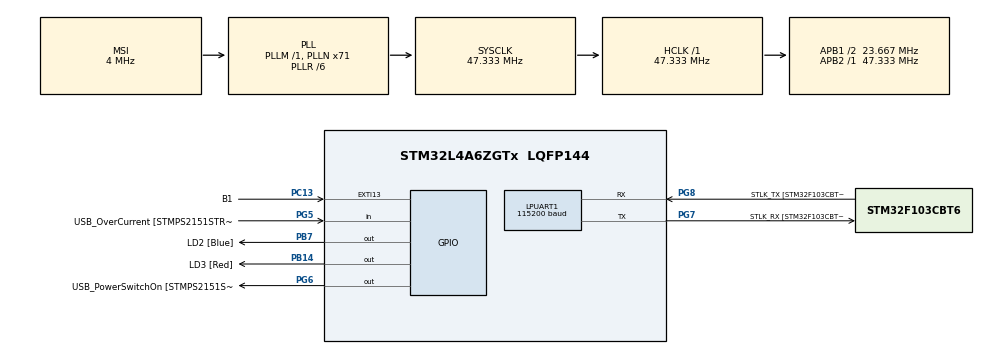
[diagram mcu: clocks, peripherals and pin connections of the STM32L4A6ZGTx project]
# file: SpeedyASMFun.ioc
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LPUART1.AutoBaudRateEnableParam=UART_ADVFEATURE_AUTOBAUDRATE_DISABLE
LPUART1.BaudRate=115200
LPUART1.DMADisableonRxErrorParam=UART_ADVFEATURE_DMA_ENABLEONRXERROR
LPUART1.DataInvertParam=UART_ADVFEATURE_DATAINV_DISABLE
LPUART1.MSBFirstParam=UART_ADVFEATURE_MSBFIRST_DISABLE
LPUART1.Mode=UART_MODE_TX_RX
LPUART1.OneBitSampling=UART_ONE_BIT_SAMPLE_DISABLE
LPUART1.OverrunDisableParam=UART_ADVFEATURE_OVERRUN_ENABLE
LPUART1.Parity=UART_PARITY_NONE
LPUART1.RxPinLevelInvertParam=UART_ADVFEATURE_RXINV_DISABLE
LPUART1.StopBits=UART_STOPBITS_1
LPUART1.SwapParam=UART_ADVFEATURE_SWAP_DISABLE
LPUART1.TxPinLevelInvertParam=UART_ADVFEATURE_TXINV_DISABLE
LPUART1.WordLength=UART_WORDLENGTH_8B
Mcu.Family=STM32L4
Mcu.Name=STM32L4A6ZGTx
Mcu.Package=LQFP144
NVIC.PriorityGroup=NVIC_PRIORITYGROUP_4
PA10.GPIO_Label=USB_ID
PA10.Signal=USB_OTG_FS_ID
PA11.GPIO_Label=USB_DM
PA11.Signal=USB_OTG_FS_DM
PA12.GPIO_Label=USB_DP
PA12.Signal=USB_OTG_FS_DP
PA13\ (JTMS/SWDIO).GPIO_Label=TMS
PA13\ (JTMS/SWDIO).Mode=Trace_Asynchronous_SW
PA13\ (JTMS/SWDIO).Signal=SYS_JTMS-SWDIO
PA14\ (JTCK/SWCLK).GPIO_Label=TCK
PA14\ (JTCK/SWCLK).Mode=Trace_Asynchronous_SW
PA14\ (JTCK/SWCLK).Signal=SYS_JTCK-SWCLK
PA8.GPIO_Label=USB_SOF [TP1]
PA8.Signal=USB_OTG_FS_SOF
PA9.GPIO_Label=USB_VBUS
PA9.Signal=USB_OTG_FS_VBUS
PB14.GPIO_Label=LD3 [Red]
PB14.Signal=GPIO_Output
PB3\ (JTDO/TRACESWO).GPIO_Label=SWO
PB3\ (JTDO/TRACESWO).Mode=Trace_Asynchronous_SW
PB3\ (JTDO/TRACESWO).Signal=SYS_JTDO-SWO
PB7.GPIO_Label=LD2 [Blue]
PB7.Signal=GPIO_Output
PC13.GPIO_Label=B1
PC13.Signal=GPXTI13
PC14-OSC32_IN\ (PC14).Mode=LSE-External-Oscillator
PC14-OSC32_IN\ (PC14).Signal=RCC_OSC32_IN
PC15-OSC32_OUT\ (PC15).Mode=LSE-External-Oscillator
PC15-OSC32_OUT\ (PC15).Signal=RCC_OSC32_OUT
PG5.GPIO_Label=USB_OverCurrent [STMPS2151STR_FAULT]
PG5.Signal=GPIO_Input
PG6.GPIO_Label=USB_PowerSwitchOn [STMPS2151STR_EN]
PG6.Signal=GPIO_Output
PG7.GPIO_Label=STLK_RX [STM32F103CBT6_PA3]
PG7.Mode=Asynchronous
PG7.Signal=LPUART1_TX
PG8.GPIO_Label=STLK_TX [STM32F103CBT6_PA2]
PG8.Mode=Asynchronous
PG8.Signal=LPUART1_RX
PH1-OSC_OUT\ (PH1).Signal=RCC_OSC_OUT
ProjectManager.HeapSize=0x200
ProjectManager.StackSize=0x400
ProjectManager.TargetToolchain=STM32CubeIDE
RCC.ADCFreq_Value=48000000
RCC.AHBFreq_Value=47333333.333333336
RCC.APB1CLKDivider=RCC_HCLK_DIV2
RCC.APB1Freq_Value=23666666.666666668
RCC.APB1TimFreq_Value=47333333.333333336
RCC.APB2Freq_Value=47333333.333333336
RCC.APB2TimFreq_Value=47333333.333333336
RCC.CortexFreq_Value=47333333.333333336
RCC.FLatency=FLASH_LATENCY_2
RCC.HCLKFreq_Value=47333333.333333336
RCC.HSE_VALUE=8000000
RCC.HSI48_VALUE=48000000
RCC.HSI_VALUE=16000000
RCC.MSI_VALUE=4000000
RCC.PLLN=71
RCC.PLLR=RCC_PLLR_DIV6
RCC.PLLSAI1N=24
RCC.SYSCLKFreq_VALUE=47333333.333333336
RCC.SYSCLKSource=RCC_SYSCLKSOURCE_PLLCLK
RCC.USBFreq_Value=48000000
RCC.VCOOutputFreq_Value=284000000
board=NUCLEO-L4A6ZG

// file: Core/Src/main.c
/* USER CODE BEGIN Header */
/**
  ******************************************************************************
  * @file           : main.c
  * @brief          : Main program body
  ******************************************************************************
  * @attention
  *
  * <h2><center>&copy; Copyright (c) 2022 STMicroelectronics.
  * All rights reserved.</center></h2>
  *
  * This software component is licensed by ST under BSD 3-Clause license,
  * the "License"; You may not use this file except in compliance with the
  * License. You may obtain a copy of the License at:
  *                        opensource.org/licenses/BSD-3-Clause
  *
  ******************************************************************************
  */
/* USER CODE END Header */
#include "main.h"
#include <stdio.h>
/* USER CODE BEGIN Includes */
#include "Func.h"
#include <inttypes.h>
/* USER CODE END Includes */

/* USER CODE BEGIN PD */
#define ARM_CM_DEMCR      (volatile uint32_t *)0xE000EDFC

#define ARM_CM_DWT_CYCCNT (volatile uint32_t *)0xE0001004

#define ARM_CM_DWT_CTRL   (volatile uint32_t *)0xE0001000
#define MAX_BUFF 110
/* USER CODE END PD */

UART_HandleTypeDef hlpuart1;

void SystemClock_Config(void);
static void MX_GPIO_Init(void);
static void MX_LPUART1_UART_Init(void);
/* USER CODE BEGIN PFP */
void serial_out(char *label, uint8_t *dat0, uint8_t *dat1, uint8_t *dat2, uint8_t *dat3, uint8_t *dat4, uint8_t *dat5, int *i);

/* USER CODE END PFP */

/* USER CODE BEGIN 0 */
#define NR 7

uint32_t startB, stopB, startE, stopE;
int deltaE = 0;
int deltaB = 0;
/* USER CODE END 0 */

int main(void)
{
  /* USER CODE BEGIN 1 */
  *ARM_CM_DEMCR     =  (*ARM_CM_DEMCR) | 0x01000000;  // Set bit 24
  *ARM_CM_DWT_CTRL = (*ARM_CM_DWT_CTRL) | 0x00000001 ;
  /* USER CODE END 1 */

  /* MCU Configuration--------------------------------------------------------*/

  /* Reset of all peripherals, Initializes the Flash interface and the Systick. */
  HAL_Init();

  /* Configure the system clock */
  SystemClock_Config();

  /* Initialize all configured peripherals */
  MX_GPIO_Init();
  MX_LPUART1_UART_Init();
  /* USER CODE BEGIN 2 */

  /*Plaintext in regular representation*/
    uint32_t Plaintext[6] = {0xA13A6324, 0x51070E43, 0x82A27F26, 0xA40682F3, 0xFE9FF680, 0x28D24FDB};

  /*All Keys are in regular representation*/
    uint32_t Keys[8][6] = {{0x764C4F62, 0x54E1BFF2, 0x08E95862, 0x428FAED0, 0x1584F420, 0x7A7E8477},//;		//k[0]	//master key
  /*  uint32_t Key1[6] =*/ {0x918049DD, 0xF49A9BBB, 0x61AB3CF7, 0xF11A8694, 0x468B444B, 0x88899E45},//;		//k[1]
  /*  uint32_t Key2[6] =*/ {0x4A3A5040, 0xD1F8A42F, 0xEA1C2777, 0x98CAE714, 0xE4E6674C, 0x78D56216},//;		//k[2]
  /*  uint32_t Key3[6] =*/ {0x834A8996, 0xCFD98A05, 0x9D5E90D5, 0x59818134, 0xDF133AE8, 0xFEEC23A0},//;		//k[3]
  /*  uint32_t Key4[6] =*/ {0x0E7215A4, 0xFEA258FC, 0x0C7756CE, 0xEFC054C1, 0xB5702A6B, 0xD062620D},//;		//k[4]
  /*  uint32_t Key5[6] =*/ {0x0C9CE48B, 0xCEEB20AB, 0x3CE7B10A, 0xC3D5569A, 0x111BC989, 0x9E55D190},//;		//k[5]
  /*  uint32_t Key6[6] =*/ {0x4514C4EC, 0xE56EFA5D, 0x6236C89A, 0xF240F1F2, 0x260D6894, 0x27571A6A},//;		//k[6]
  /*  uint32_t Key7[6] =*/ {0x8996DF99, 0x9A40DC4E, 0x818009C0, 0x8134CF53, 0x2AADBFFC, 0x32F5D30B}};//;		//k[7]	//final key

    uint32_t Rc[6][6] = {{0X3903501C,	0X22145A05,	0XB46705B0,	0X2269408A,	0X5B9954CE, 0XE150791E},
    	  	  	  	  	   {0X3A21067B,	0X32801FBE,	0X35C8CEE9,	0X0D33C971,	0XFD8F9408,	0X22B25E82},
    	  	  	  	  	   {0XBF3984A2,	0XA5B365CD,	0X5D54B65F,	0X0FF7E9EE,	0X4012012D,	0X1A5D9CD5},
    	  	  	  	  	   {0X8EB8AFF6,	0XC16D9463,	0X1DDB3CDA,	0XA19C9865,	0X535F36D7,	0X5F9F7FAC},
    	  	  	  	  	   {0XE17ADECE,	0X3CC44C83,	0X85CCD8E4,	0XC7B3B8D5,	0XE481006D,	0X4CC7691C},
    	  	  	  	  	   {0X7873963C,	0XC98A9BB3,	0X8006F8E7,	0X6F7CBBA0,	0X4DEF0A1C,	0X0785D9AE}};

    uint32_t Ciphertext[6]= {0x0, 0x0, 0x0, 0x0, 0x0, 0x0};

    serial_out("Speedy encryption begin using bitslice and ASM", NULL, NULL, NULL, NULL, NULL, NULL, NULL);
    serial_out("Plaintext[0] = ", (uint8_t*)&Plaintext[0], (uint8_t*)&Plaintext[1], (uint8_t*)&Plaintext[2], (uint8_t*)&Plaintext[3], (uint8_t*)&Plaintext[4], (uint8_t*)&Plaintext[5], NULL);
    serial_out("Key = ", (uint8_t*)&Keys[0][0], (uint8_t*)&Keys[0][1], (uint8_t*)&Keys[0][2], (uint8_t*)&Keys[0][3], (uint8_t*)&Keys[0][4], (uint8_t*)&Keys[0][5], NULL);

   *ARM_CM_DWT_CYCCNT = 0;
   startB = *ARM_CM_DWT_CYCCNT;
    //bslice();									//convert data to bitslice representation
    bslice(Keys[0]);
    bslice(Keys[1]);
    bslice(Keys[2]);
    bslice(Keys[3]);
    bslice(Keys[4]);
    bslice(Keys[5]);
    bslice(Keys[6]);
    bslice(Keys[7]);
    bslice(Plaintext);

    stopB  = *ARM_CM_DWT_CYCCNT;
    deltaB = stopB - startB;

    *ARM_CM_DWT_CYCCNT = 0;
    startE = *ARM_CM_DWT_CYCCNT;

    for(int i = 0; i < NR; i++){				//encryption begin
  	  ark(Keys[i]);								// Add round key
  	  sbox();									// substitution box
  	  shiftcolumns();							// shift columns
  	  sbox();									// substitution box
  	  if(i <= NR-2){
  		  shiftcolumns();						// shift columns
  		  mixcolumns();							// mix columns
  		  arc(Rc[i]);							// add round constant
  	  }
  	  if(i == (NR - 1)){
  		  lark(Keys[i+1], Ciphertext);			// last add round key, here the cipher text is stored in memory
  	  }
    }

    stopE  = *ARM_CM_DWT_CYCCNT;
   	deltaE = stopE - startE;

   	serial_out("Done! ", NULL, NULL, NULL, NULL, NULL, NULL, NULL );

    serial_out("Bitslice Clock cycles = ", NULL, NULL, NULL, NULL, NULL, NULL, &deltaB);
    serial_out("Encryption Clock cycles = ", NULL, NULL, NULL, NULL, NULL, NULL, &deltaE);

  /* USER CODE END 2 */

  /* Infinite loop */
  while (1)
  {

  }
}

void SystemClock_Config(void)
{
  RCC_OscInitTypeDef RCC_OscInitStruct = {0};
  RCC_ClkInitTypeDef RCC_ClkInitStruct = {0};

  /** Configure the main internal regulator output voltage
  */
  if (HAL_PWREx_ControlVoltageScaling(PWR_REGULATOR_VOLTAGE_SCALE1) != HAL_OK)
  {
    Error_Handler();
  }
  /** Initializes the RCC Oscillators according to the specified parameters
  * in the RCC_OscInitTypeDef structure.
  */
  RCC_OscInitStruct.OscillatorType = RCC_OSCILLATORTYPE_MSI;
  RCC_OscInitStruct.MSIState = RCC_MSI_ON;
  RCC_OscInitStruct.MSICalibrationValue = 0;
  RCC_OscInitStruct.MSIClockRange = RCC_MSIRANGE_6;
  RCC_OscInitStruct.PLL.PLLState = RCC_PLL_ON;
  RCC_OscInitStruct.PLL.PLLSource = RCC_PLLSOURCE_MSI;
  RCC_OscInitStruct.PLL.PLLM = 1;
  RCC_OscInitStruct.PLL.PLLN = 71;
  RCC_OscInitStruct.PLL.PLLP = RCC_PLLP_DIV2;
  RCC_OscInitStruct.PLL.PLLQ = RCC_PLLQ_DIV2;
  RCC_OscInitStruct.PLL.PLLR = RCC_PLLR_DIV6;
  if (HAL_RCC_OscConfig(&RCC_OscInitStruct) != HAL_OK)
  {
    Error_Handler();
  }
  /** Initializes the CPU, AHB and APB buses clocks
  */
  RCC_ClkInitStruct.ClockType = RCC_CLOCKTYPE_HCLK|RCC_CLOCKTYPE_SYSCLK
                              |RCC_CLOCKTYPE_PCLK1|RCC_CLOCKTYPE_PCLK2;
  RCC_ClkInitStruct.SYSCLKSource = RCC_SYSCLKSOURCE_PLLCLK;
  RCC_ClkInitStruct.AHBCLKDivider = RCC_SYSCLK_DIV1;
  RCC_ClkInitStruct.APB1CLKDivider = RCC_HCLK_DIV2;
  RCC_ClkInitStruct.APB2CLKDivider = RCC_HCLK_DIV1;

  if (HAL_RCC_ClockConfig(&RCC_ClkInitStruct, FLASH_LATENCY_2) != HAL_OK)
  {
    Error_Handler();
  }
}

static void MX_LPUART1_UART_Init(void)
{

  hlpuart1.Instance = LPUART1;
  hlpuart1.Init.BaudRate = 115200;
  hlpuart1.Init.WordLength = UART_WORDLENGTH_8B;
  hlpuart1.Init.StopBits = UART_STOPBITS_1;
  hlpuart1.Init.Parity = UART_PARITY_NONE;
  hlpuart1.Init.Mode = UART_MODE_TX_RX;
  hlpuart1.Init.HwFlowCtl = UART_HWCONTROL_NONE;
  hlpuart1.Init.OneBitSampling = UART_ONE_BIT_SAMPLE_DISABLE;
  hlpuart1.AdvancedInit.AdvFeatureInit = UART_ADVFEATURE_NO_INIT;
  if (HAL_UART_Init(&hlpuart1) != HAL_OK)
  {
    Error_Handler();
  }

}

static void MX_GPIO_Init(void)
{
  GPIO_InitTypeDef GPIO_InitStruct = {0};

  /* GPIO Ports Clock Enable */
  __HAL_RCC_GPIOC_CLK_ENABLE();
  __HAL_RCC_GPIOH_CLK_ENABLE();
  __HAL_RCC_GPIOB_CLK_ENABLE();
  __HAL_RCC_GPIOG_CLK_ENABLE();
  HAL_PWREx_EnableVddIO2();
  __HAL_RCC_GPIOA_CLK_ENABLE();

  /*Configure GPIO pin Output Level */
  HAL_GPIO_WritePin(GPIOB, LD3_Pin|LD2_Pin, GPIO_PIN_RESET);

  /*Configure GPIO pin Output Level */
  HAL_GPIO_WritePin(USB_PowerSwitchOn_GPIO_Port, USB_PowerSwitchOn_Pin, GPIO_PIN_RESET);

  /*Configure GPIO pin : B1_Pin */
  GPIO_InitStruct.Pin = B1_Pin;
  GPIO_InitStruct.Mode = GPIO_MODE_IT_RISING;
  GPIO_InitStruct.Pull = GPIO_NOPULL;
  HAL_GPIO_Init(B1_GPIO_Port, &GPIO_InitStruct);

  /*Configure GPIO pins : LD3_Pin LD2_Pin */
  GPIO_InitStruct.Pin = LD3_Pin|LD2_Pin;
  GPIO_InitStruct.Mode = GPIO_MODE_OUTPUT_PP;
  GPIO_InitStruct.Pull = GPIO_NOPULL;
  GPIO_InitStruct.Speed = GPIO_SPEED_FREQ_LOW;
  HAL_GPIO_Init(GPIOB, &GPIO_InitStruct);

  /*Configure GPIO pin : USB_OverCurrent_Pin */
  GPIO_InitStruct.Pin = USB_OverCurrent_Pin;
  GPIO_InitStruct.Mode = GPIO_MODE_INPUT;
  GPIO_InitStruct.Pull = GPIO_NOPULL;
  HAL_GPIO_Init(USB_OverCurrent_GPIO_Port, &GPIO_InitStruct);

  /*Configure GPIO pin : USB_PowerSwitchOn_Pin */
  GPIO_InitStruct.Pin = USB_PowerSwitchOn_Pin;
  GPIO_InitStruct.Mode = GPIO_MODE_OUTPUT_PP;
  GPIO_InitStruct.Pull = GPIO_NOPULL;
  GPIO_InitStruct.Speed = GPIO_SPEED_FREQ_LOW;
  HAL_GPIO_Init(USB_PowerSwitchOn_GPIO_Port, &GPIO_InitStruct);

  /*Configure GPIO pins : USB_SOF_Pin USB_ID_Pin USB_DM_Pin USB_DP_Pin */
  GPIO_InitStruct.Pin = USB_SOF_Pin|USB_ID_Pin|USB_DM_Pin|USB_DP_Pin;
  GPIO_InitStruct.Mode = GPIO_MODE_AF_PP;
  GPIO_InitStruct.Pull = GPIO_NOPULL;
  GPIO_InitStruct.Speed = GPIO_SPEED_FREQ_VERY_HIGH;
  GPIO_InitStruct.Alternate = GPIO_AF10_OTG_FS;
  HAL_GPIO_Init(GPIOA, &GPIO_InitStruct);

}

/* USER CODE BEGIN 4 */
void serial_out(char *label, uint8_t *dat0, uint8_t *dat1, uint8_t *dat2, uint8_t *dat3, uint8_t *dat4, uint8_t *dat5, int *i){

	uint16_t sz = 0;
	char m[MAX_BUFF];

	if((label != NULL) && (dat0 != NULL) && (dat1 != NULL) && (dat2 != NULL) && (dat3 != NULL) && (dat4 != NULL) && (dat5 != NULL) && (i == NULL)){
		sprintf(m, "%s %.2X%.2X%.2X%.2X %.2X%.2X%.2X%.2X %.2X%.2X%.2X%.2X %.2X%.2X%.2X%.2X %.2X%.2X%.2X%.2X %.2X%.2X%.2X%.2X \r\n",
		label, dat0[3], dat0[2], dat0[1], dat0[0],
			   dat1[3], dat1[2], dat1[1], dat1[0],
			   dat2[3], dat2[2], dat2[1], dat2[0],
			   dat3[3], dat3[2], dat3[1], dat3[0],
			   dat4[3], dat4[2], dat4[1], dat4[0],
			   dat5[3], dat5[2], dat5[1], dat5[0] );
	}

	if((label != NULL) && (i != NULL)){    // print string and integer //&& (dat0 = NULL) && (dat1 = NULL) && (dat2 = NULL) && (dat3 = NULL) && (dat4 = NULL) && (dat5 = NULL) && (i != NULL)){    // print string and integer
		sprintf(m, "%s %i \r\n", label, *i);
	}

	if((label != NULL) && (dat0 == NULL) && (dat1 == NULL) && (dat2 == NULL) && (dat3 == NULL) && (dat4 == NULL) && (dat5 == NULL) && (i == NULL)){    // print the string label
		sprintf(m, "%s \r\n", label);
	}

	sz = 0;
	do{
		sz++;
	}while(m[sz]!='\0');

	HAL_UART_Transmit(&hlpuart1, (uint8_t *)m, sz, HAL_MAX_DELAY);
}
/* USER CODE END 4 */

void Error_Handler(void)
{
  __disable_irq();
  while (1)
  {
  }
}

/************************ (C) COPYRIGHT STMicroelectronics *****END OF FILE****/
